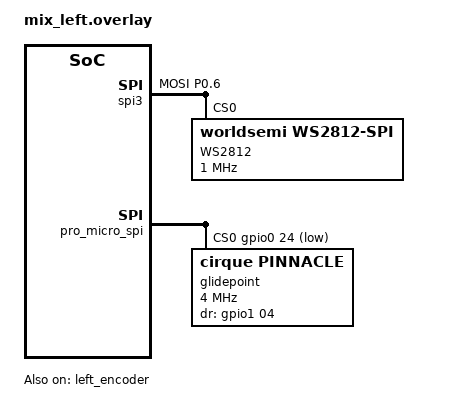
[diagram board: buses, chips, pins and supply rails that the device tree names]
/*
 * Copyright (c) 2020 Pete Johanson
 *
 * SPDX-License-Identifier: MIT
 */

#include "mix.dtsi"

#include <dt-bindings/led/led.h>
&pinctrl {
    spi3_default: spi3_default {
        group1 {
            psels = <NRF_PSEL(SPIM_MOSI, 0, 6)>;
        };
    };
    spi3_sleep: spi3_sleep {
        group1 {
            psels = <NRF_PSEL(SPIM_MOSI, 0, 6)>;
            low-power-enable;
        };
    };
};
&spi3 {
  compatible = "nordic,nrf-spim";
  status = "okay";
  pinctrl-0 = <&spi3_default>;
  pinctrl-1 = <&spi3_sleep>;
  pinctrl-names = "default", "sleep";
  led_strip: ws2812@0 {
    compatible = "worldsemi,ws2812-spi";
    label = "WS2812";
    /* SPI */
    reg = <0>; /* ignored, but necessary for SPI bindings */
    spi-max-frequency = <1000000>;
    /* WS2812 */
    chain-length = <21>; /* number of LEDs */
    spi-one-frame = <0x70>;
    spi-zero-frame = <0x40>;
    color-mapping = <LED_COLOR_ID_GREEN
                          LED_COLOR_ID_RED
                          LED_COLOR_ID_BLUE>;
  };
};

/ {
    chosen {
        zmk,underglow = &led_strip;
    };
};


&kscan0 {
    col-gpios
        = <&pro_micro 21 GPIO_ACTIVE_HIGH>
        , <&pro_micro 20 GPIO_ACTIVE_HIGH>
        , <&pro_micro 19 GPIO_ACTIVE_HIGH>
        , <&pro_micro 18 GPIO_ACTIVE_HIGH>
        , <&pro_micro 15 GPIO_ACTIVE_HIGH>
        , <&pro_micro 14 GPIO_ACTIVE_HIGH>
        ;
};

&pro_micro_spi {
    status = "okay";
    cs-gpios = <&gpio0 24 GPIO_ACTIVE_LOW>;

    glidepoint: glidepoint@0 {
        compatible = "cirque,pinnacle";
        reg = <0>;
        spi-max-frequency = <4000000>;
        status = "okay";
        dr-gpios = <&gpio1 04 (GPIO_ACTIVE_HIGH)>;

        sensitivity = "2x";
        //invert-x;
        sleep;
        // no-taps;
    };
};
/ {
    glidepoint_listener: glidepoint_listener {
        compatible = "zmk,input-listener";
        status = "disabled";
    };
};
&left_encoder {
    status = "okay";
};
